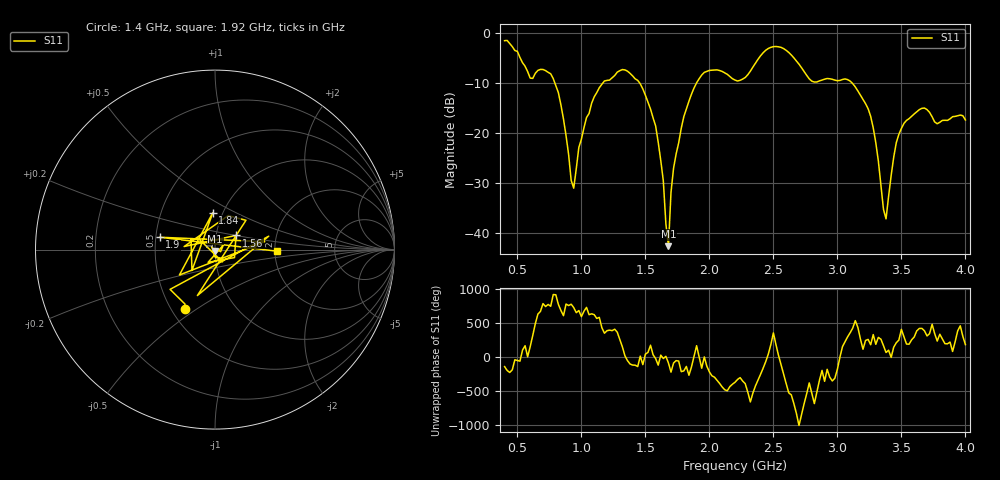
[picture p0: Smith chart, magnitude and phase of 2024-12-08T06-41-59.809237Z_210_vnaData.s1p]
!Created with skrf (http://scikit-rf.org).
# Hz S RI R 50.0
!freq ReS11 ImS11
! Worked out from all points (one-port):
!   181 points, 400 MHz to 4 GHz, reference 50 ohm
!   lowest |S11| = -42.6 dB at 1.68 GHz (marker M1), VSWR 1.01, Z = 50 - j0.742 ohm
!   |S11| at or under -10 dB: 791.8 MHz to 1.169 GHz (377 MHz wide, 38.5 % of centre); 1.454 GHz to 1.9 GHz (446.4 MHz wide, 26.6 % of centre); 3.113 GHz to end of sweep
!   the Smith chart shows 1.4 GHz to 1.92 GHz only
!   S11 on the Smith chart (normalised r, x): 1.4 GHz: 0.59, -0.45; 1.56 GHz: 1.25, +0.20; 1.84 GHz: 0.90, +0.39; 1.9 GHz: 0.52, +0.08; 1.92 GHz: 2.06, -0.04
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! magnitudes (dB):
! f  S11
! 400 MHz  -1.6
! 600 MHz  -9.1
! 760 MHz  -8.2
! 860 MHz  -17.2
! 940 MHz  -31.0
! 980 MHz  -22.9
! 1.08 GHz  -14.1
! 1.3 GHz  -7.6
! 1.4 GHz  -8.6
! 1.56 GHz  -17.0
! 1.64 GHz  -29.6
! 1.68 GHz  -42.6
! 1.7 GHz  -31.8
! 1.76 GHz  -22.0
! 1.84 GHz  -13.7
! 1.9 GHz  -10.0
! 1.92 GHz  -9.2
! 2.2 GHz  -9.5
! 2.48 GHz  -2.9
! 2.66 GHz  -5.0
! 2.8 GHz  -9.7
! 3.1 GHz  -9.7
! 3.26 GHz  -16.7
! 3.38 GHz  -37.1
! 3.46 GHz  -22.0
! 3.56 GHz  -17.2
! 3.68 GHz  -15.0
! 4 GHz  -17.4
